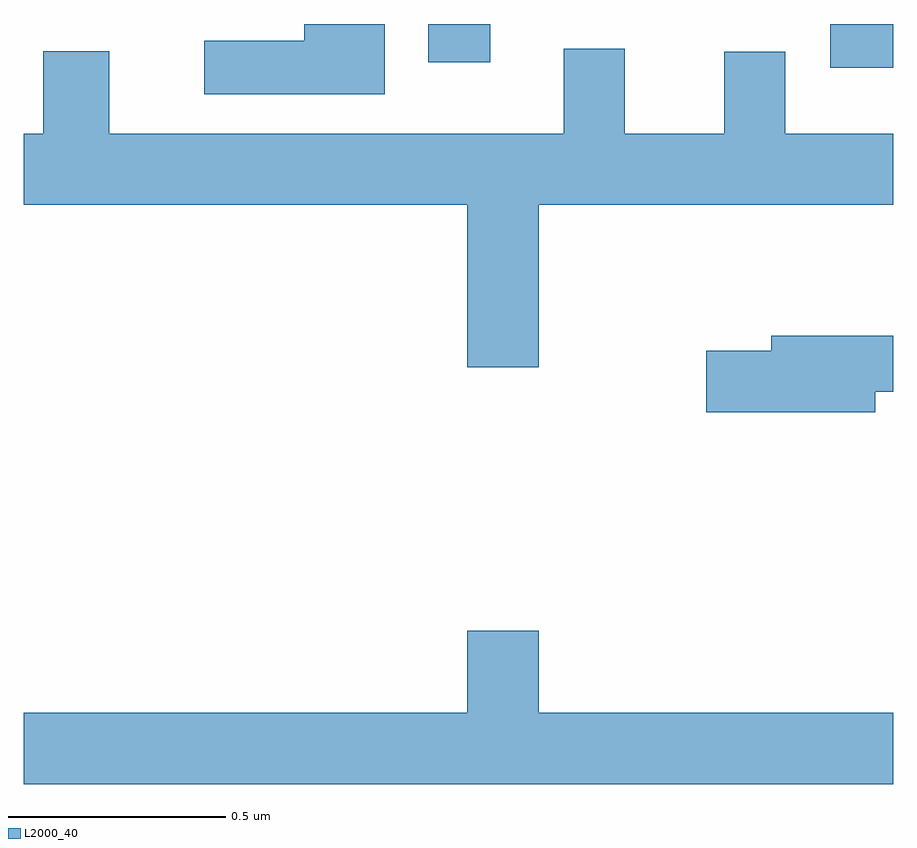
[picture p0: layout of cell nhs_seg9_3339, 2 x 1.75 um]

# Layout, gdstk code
import gdstk
lib = gdstk.Library(unit=1e-6, precision=1e-09)
def R(c, l, rs):  # rectangles x0, y0, x1, y1
    for r in rs: c.add(gdstk.rectangle(r[:2], r[2:], *l))
def P(c, l, *ps):  # polygons
    for p in ps: c.add(gdstk.Polygon(p, *l))
L2000_40 = (2000, 40)

nhs_seg9_3339 = lib.new_cell('nhs_seg9_3339')
R(nhs_seg9_3339, L2000_40, [(153.855,1199.399,154,1199.5), (152.93,1199.412,153.073,1199.5)])
P(nhs_seg9_3339, L2000_40, [(152.83,1199.5),(152.645,1199.5),(152.645,1199.461),(152.415,1199.461),(152.415,1199.339),(152.83,1199.339)],
  [(153.184,1199.084),(154,1199.084),(154,1199.248),(153.751,1199.248),(153.751,1199.436),(153.611,1199.436),(153.611,1199.248),(153.382,1199.248),(153.382,1199.443),(153.242,1199.443),(153.242,1199.248),(152.197,1199.248),(152.197,1199.437),(152.045,1199.437),(152.045,1199.248),(152,1199.248),(152,1199.084),(153.02,1199.084),(153.02,1198.71),(153.184,1198.71)],
  [(153.958,1198.654),(154,1198.654),(154,1198.783),(153.719,1198.783),(153.719,1198.749),(153.57,1198.749),(153.57,1198.607),(153.958,1198.607)],
  [(154,1197.916),(153.184,1197.916),(153.184,1198.105),(153.02,1198.105),(153.02,1197.916),(152,1197.916),(152,1197.752),(154,1197.752)])

lib.write_gds('nhs_seg9_3339.gds')
